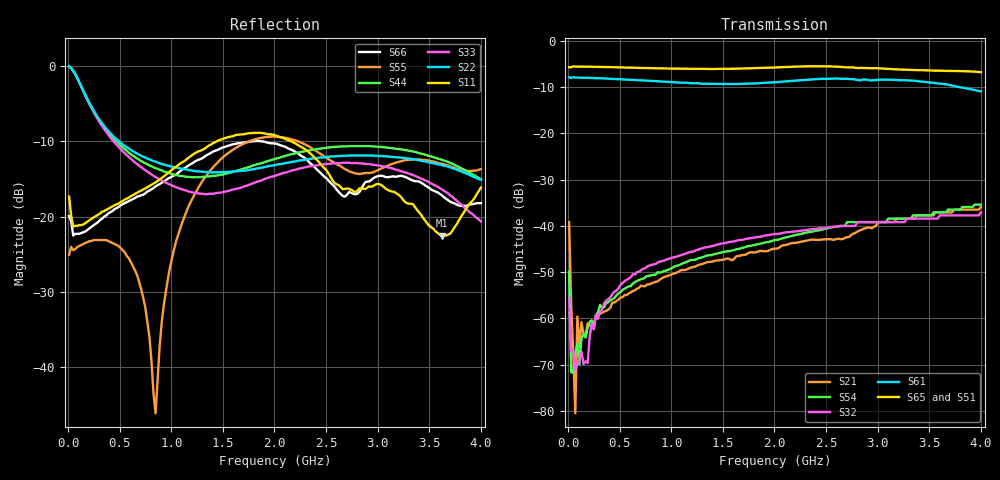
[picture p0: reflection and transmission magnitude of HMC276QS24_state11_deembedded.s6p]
! Hittite Microwave Corporation
! 20 Alpha Road
! Chelmsford, MA 01824
! Tel: 978-250-3343
! Fax: 978-250-3373
! Device: HMC276QS24, 0.7-3.0 GHz, GaAS MMIC 4x2 Switch Matrix in 24-lead QSOP package
! Misc: Data was de-embedded to package pins.
!  Port 1 = OP1
!  Port 2 = VL
!  Port 3 = VH
!  Port 4 = HH
!  Port 5 = HL
!  Port 6 = OP2
!  Vdd = +5 V
!  Vctl = 0 V[Logic 0] / +5 V[Logic 1]
!  State 11,  HL to OP1,  HL to OP2
!  Control Lines (Logic)
!  HV 1 = 1, Tone 1 = 0
!  HV 2 = 1, Tone 2 = 0
!  Data reformated to new Touchstone file format - Wed Jan 10 15:54:05 2007
# MHz S DB R 50
! 6 Port Network Data
! freq  dbS11  angS11  dbS12  angS12  dbS13  angS13  dbS14  angS14
!  dbS15  angS15  dbS16  angS16
!  dbS21  angS21  dbS22  angS22
!  dbS23  angS23  dbS24  angS24  dbS25  angS25  dbS26  angS26
!  dbS31  angS31  dbS32  angS32  dbS33  angS33  dbS34  angS34
!  dbS35  angS35  dbS36  angS36
!  dbS41  angS41  dbS42  angS42
!  dbS43  angS43  dbS44  angS44  dbS45  angS45  dbS46  angS46
!  dbS51  angS51  dbS52  angS52  dbS53  angS53  dbS54  angS54
!  dbS55  angS55  dbS56  angS56
!  dbS61  angS61  dbS62  angS62
!  dbS63  angS63  dbS64  angS64  dbS65  angS65  dbS66  angS66
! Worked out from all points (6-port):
!   201 points, 10 MHz to 4 GHz, reference 50 ohm
!   strongest paths, dB at 10 MHz, 1.008 GHz, 2.005 GHz, 3.002 GHz, 4 GHz:
!     S65: -5.7, -6.0, -5.7, -6.0, -6.8
!     S51: -5.8, -6.3, -6.0, -6.0, -6.8
!     S61: -7.9, -8.9, -9.0, -8.4, -10.9
!     S32: -55.5, -46.9, -41.8, -39.2, -37.1
!     S54: -49.9, -49.1, -43.1, -39.2, -35.4
!     S21: -39.2, -50.4, -44.9, -39.2, -35.9
!   lowest |S11| = -22.5 dB at 3.621 GHz (marker M1), VSWR 1.16, Z = 50.6 + j7.54 ohm
!   |S11| at or under -10 dB: start of sweep to 1.439 GHz; 2.163 GHz to end of sweep
